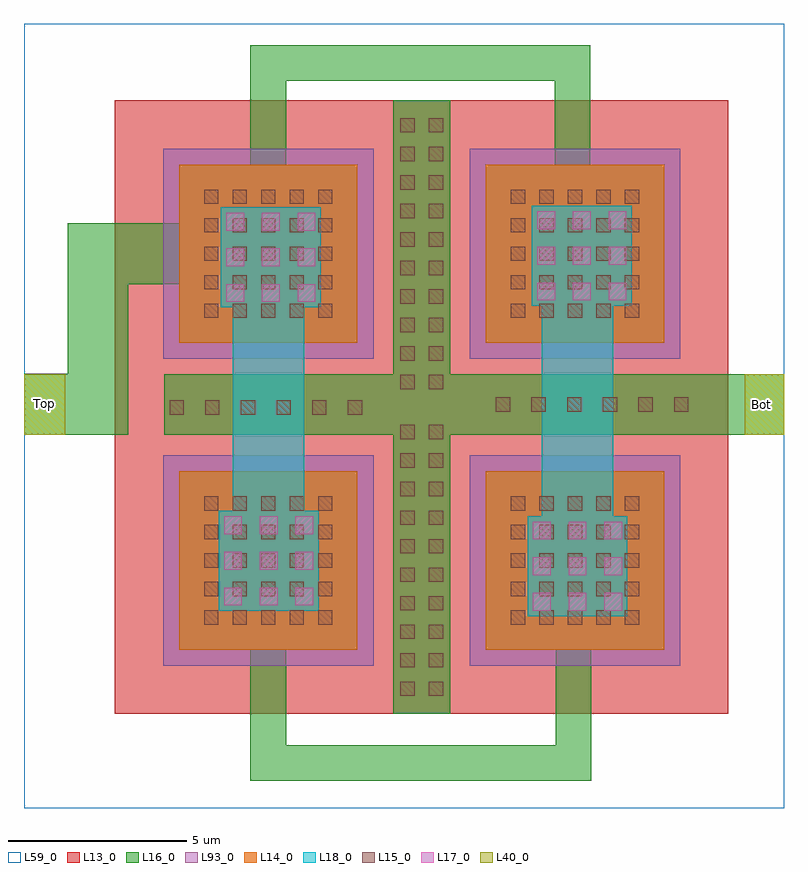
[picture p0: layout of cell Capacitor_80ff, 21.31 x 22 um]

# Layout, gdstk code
from math import pi, radians
import gdstk
lib = gdstk.Library(unit=1e-6, precision=1e-09)
def R(c, l, rs):  # rectangles x0, y0, x1, y1
    for r in rs: c.add(gdstk.rectangle(r[:2], r[2:], *l))
def A(c, l, x, y, w, h, nx, ny, dx, dy):  # array of equal rectangles
    R(c, l, [(x+i*dx, y+j*dy, x+i*dx+w, y+j*dy+h) for i in range(nx) for j in range(ny)])
L13_0 = (13, 0)
L14_0 = (14, 0)
L15_0 = (15, 0)
L16_0 = (16, 0)
L17_0 = (17, 0)
L18_0 = (18, 0)
L40_0 = (40, 0)
L59_0 = (59, 0)
L93_0 = (93, 0)

pip_cdns_747423781700 = lib.new_cell('pip_CDNS_747423781700')
R(pip_cdns_747423781700, L13_0, [(-4.3,-4.3,4.3,4.3)])
R(pip_cdns_747423781700, L14_0, [(-2.5,-2.5,2.5,2.5)])
A(pip_cdns_747423781700, L15_0, 3.7, -3.8, 0.4, 0.4, 1, 10, 0, 0.8)
A(pip_cdns_747423781700, L15_0, -1.8, -1.8, 0.4, 0.4, 5, 5, 0.8, 0.8)
R(pip_cdns_747423781700, L16_0, [(3.5,-4.3,4.3,4.3), (-2.5,-2.5,2.5,2.5)])
R(pip_cdns_747423781700, L93_0, [(-2.95,-2.95,2.95,2.95)])
pip_cdns_747423781700.add(gdstk.Label('& SerialNumber 000000', (0,0), layer=16, texttype=0))
pip_cdns_747423781700.add(gdstk.Label('& Distributor VIS', (0,0), layer=16, texttype=0))
pip_cdns_747423781700.add(gdstk.Label('& Metric 1', (0,0), layer=16, texttype=0))
pip_cdns_747423781700.add(gdstk.Label('& Version     \t  1.7A', (0,0), layer=16, texttype=0))
pip_cdns_747423781700.add(gdstk.Label('& PDKName     vis35cv', (0,0), layer=16, texttype=0))
pip_cdns_747423781700.add(gdstk.Label('& Vendor VIS Corp.', (0,0), layer=16, texttype=0))
pip_cdns_747423781700.add(gdstk.Label('BOT', (3.9,0), layer=59, texttype=0))
pip_cdns_747423781700.add(gdstk.Label('TOP', (0,0), layer=59, texttype=0))
pip_cdns_747423781700.add(gdstk.Label('& SerialNumber 000000', (0,0), layer=63, texttype=63))
pip_cdns_747423781700.add(gdstk.Label('& Distributor VIS', (0,0), layer=63, texttype=63))
pip_cdns_747423781700.add(gdstk.Label('& Metric 1', (0,0), layer=63, texttype=63))
pip_cdns_747423781700.add(gdstk.Label('& Version     \t  1.7A', (0,0), layer=63, texttype=63))
pip_cdns_747423781700.add(gdstk.Label('& PDKName     vis35cv', (0,0), layer=63, texttype=63))
pip_cdns_747423781700.add(gdstk.Label('& Vendor VIS Corp.', (0,0), layer=63, texttype=63))

m2_m1_cdns_747423781700 = lib.new_cell('M2_M1_CDNS_747423781700')
R(m2_m1_cdns_747423781700, L16_0, [(-1.45,-1.45,1.45,1.45)])
A(m2_m1_cdns_747423781700, L17_0, -1.25, -1.25, 0.5, 0.5, 3, 3, 1, 1)
R(m2_m1_cdns_747423781700, L18_0, [(-1.4,-1.4,1.4,1.4)])

m1_poly1_cdns_7474237817 = lib.new_cell('M1_POLY1_CDNS_747423781701')
R(m1_poly1_cdns_7474237817, L13_0, [(-2.9,-0.4,2.9,0.4)])
A(m1_poly1_cdns_7474237817, L15_0, -2.7, -0.2, 0.4, 0.4, 6, 1, 1, 0)
R(m1_poly1_cdns_7474237817, L16_0, [(-2.85,-0.35,2.85,0.35)])

capacitor_80ff = lib.new_cell('Capacitor_80ff')
R(capacitor_80ff, L40_0, [(20.21,10.47,21.31,12.17), (0,10.48,1.16,12.17)])
R(capacitor_80ff, L59_0, [(0,0,21.31,22)])
capacitor_80ff.add(gdstk.FlexPath([(2.07,11.33),(0,11.33)], 1.7, ends=(0.85, 0), simple_path=True, layer=16, datatype=0))  # L16_0
capacitor_80ff.add(gdstk.FlexPath([(2.07,15.55),(2.07,11.33)], 1.7, ends="extended", simple_path=True, layer=16, datatype=0))  # L16_0
capacitor_80ff.add(gdstk.FlexPath([(4.35,15.55),(2.07,15.55)], 1.7, ends=(0, 0.85), simple_path=True, layer=16, datatype=0))  # L16_0
capacitor_80ff.add(gdstk.FlexPath([(15.38,20.9),(15.38,17.48)], 1, ends=(0.5, 0), simple_path=True, layer=16, datatype=0))  # L16_0
capacitor_80ff.add(gdstk.FlexPath([(6.85,20.9),(15.38,20.9)], 1, ends="extended", simple_path=True, layer=16, datatype=0))  # L16_0
capacitor_80ff.add(gdstk.FlexPath([(6.85,18.05),(6.85,20.9)], 1, ends=(0, 0.5), simple_path=True, layer=16, datatype=0))  # L16_0
capacitor_80ff.add(gdstk.FlexPath([(15.41,1.27),(15.41,4.79)], 1, ends=(0.5, 0), simple_path=True, layer=16, datatype=0))  # L16_0
capacitor_80ff.add(gdstk.FlexPath([(6.85,1.27),(15.41,1.27)], 1, ends="extended", simple_path=True, layer=16, datatype=0))  # L16_0
capacitor_80ff.add(gdstk.FlexPath([(6.85,4.98),(6.85,1.27)], 1, ends=(0, 0.5), simple_path=True, layer=16, datatype=0))  # L16_0
capacitor_80ff.add(gdstk.FlexPath([(4.78,11.32),(21.31,11.32)], 1.7, ends=(0.85, 0), simple_path=True, layer=16, datatype=0))  # L16_0
capacitor_80ff.add(gdstk.FlexPath([(6.86,15.45),(6.92,15.45)], 2, ends=(1, 0), simple_path=True, layer=18, datatype=0))  # L18_0
capacitor_80ff.add(gdstk.FlexPath([(6.86,6.94),(6.86,15.45)], 2, ends=(0, 1), simple_path=True, layer=18, datatype=0))  # L18_0
capacitor_80ff.add(gdstk.FlexPath([(15.52,15.49),(15.64,15.49)], 2, ends=(1, 0), simple_path=True, layer=18, datatype=0))  # L18_0
capacitor_80ff.add(gdstk.FlexPath([(15.52,6.79),(15.52,15.49)], 2, ends=(0, 1), simple_path=True, layer=18, datatype=0))  # L18_0
capacitor_80ff.add(gdstk.Reference(pip_cdns_747423781700, (15.45,6.95), rotation=pi, x_reflection=True))
capacitor_80ff.add(gdstk.Reference(pip_cdns_747423781700, (15.45,15.55), rotation=pi, x_reflection=True))
capacitor_80ff.add(gdstk.Reference(pip_cdns_747423781700, (6.85,15.55)))
capacitor_80ff.add(gdstk.Reference(pip_cdns_747423781700, (6.85,6.95)))
capacitor_80ff.add(gdstk.Reference(m2_m1_cdns_747423781700, (6.86,6.94)))
capacitor_80ff.add(gdstk.Reference(m2_m1_cdns_747423781700, (6.92,15.45)))
capacitor_80ff.add(gdstk.Reference(m2_m1_cdns_747423781700, (15.64,15.49)))
capacitor_80ff.add(gdstk.Reference(m2_m1_cdns_747423781700, (15.52,6.79)))
capacitor_80ff.add(gdstk.Reference(m1_poly1_cdns_7474237817, (6.78,11.24)))
capacitor_80ff.add(gdstk.Reference(m1_poly1_cdns_7474237817, (15.93,11.32)))
capacitor_80ff.add(gdstk.Label('Bot', (20.69,11.33), layer=40, texttype=0))
capacitor_80ff.add(gdstk.Label('Top', (0.58,11.35), layer=40, texttype=0))

lib.write_gds('Capacitor_80ff.gds')
